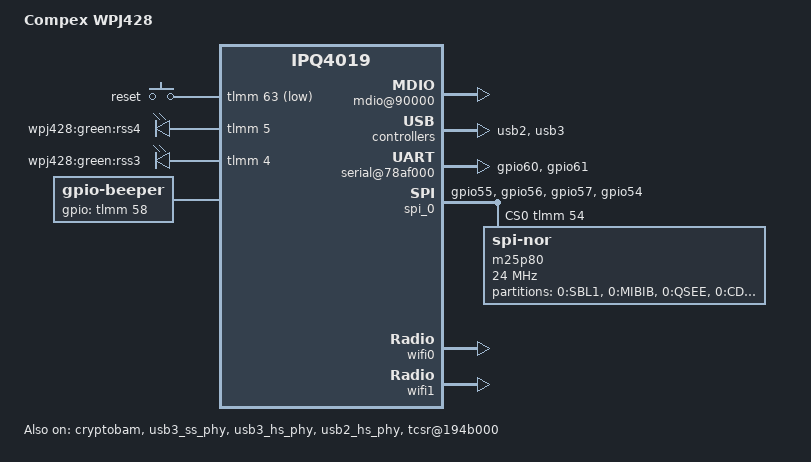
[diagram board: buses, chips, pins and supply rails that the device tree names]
/* Copyright (c) 2015, The Linux Foundation. All rights reserved.
 * Copyright (c) 2017, Christian Mehlis <christian@m3hlis.de>
 * Copyright (c) 2017-2018, Sven Eckelmann <sven.eckelmann@openmesh.com>
 *
 * Permission to use, copy, modify, and/or distribute this software for any
 * purpose with or without fee is hereby granted, provided that the above
 * copyright notice and this permission notice appear in all copies.
 *
 * THE SOFTWARE IS PROVIDED "AS IS" AND THE AUTHOR DISCLAIMS ALL WARRANTIES
 * WITH REGARD TO THIS SOFTWARE INCLUDING ALL IMPLIED WARRANTIES OF
 * MERCHANTABILITY AND FITNESS. IN NO EVENT SHALL THE AUTHOR BE LIABLE FOR
 * ANY SPECIAL, DIRECT, INDIRECT, OR CONSEQUENTIAL DAMAGES OR ANY DAMAGES
 * WHATSOEVER RESULTING FROM LOSS OF USE, DATA OR PROFITS, WHETHER IN AN
 * ACTION OF CONTRACT, NEGLIGENCE OR OTHER TORTIOUS ACTION, ARISING OUT OF
 * OR IN CONNECTION WITH THE USE OR PERFORMANCE OF THIS SOFTWARE.
 *
 */

#include "qcom-ipq4019.dtsi"
#include "qcom-ipq4019-bus.dtsi"
#include <dt-bindings/gpio/gpio.h>
#include <dt-bindings/input/input.h>
#include <dt-bindings/soc/qcom,tcsr.h>

/ {
	model = "Compex WPJ428";
	compatible = "compex,wpj428", "qcom,ipq4019";

	soc {
		mdio@90000 {
			status = "okay";
		};

		ess-psgmii@98000 {
			status = "okay";
		};

		tcsr@194b000 {
			/* select hostmode */
			compatible = "qcom,tcsr";
			reg = <0x194b000 0x100>;
			qcom,usb-hsphy-mode-select = <TCSR_USB_HSPHY_HOST_MODE>;
			status = "okay";
		};

		tcsr@1949000 {
			compatible = "qcom,tcsr";
			reg = <0x1949000 0x100>;
			qcom,wifi_glb_cfg = <TCSR_WIFI_GLB_CFG>;
		};

		ess_tcsr@1953000 {
			compatible = "qcom,tcsr";
			reg = <0x1953000 0x1000>;
			qcom,ess-interface-select = <TCSR_ESS_PSGMII>;
		};

		tcsr@1957000 {
			compatible = "qcom,tcsr";
			reg = <0x1957000 0x100>;
			qcom,wifi_noc_memtype_m0_m2 = <TCSR_WIFI_NOC_MEMTYPE_M0_M2>;
		};

		usb2: usb2@60f8800 {
			status = "okay";
		};

		serial@78af000 {
			pinctrl-0 = <&serial_pins>;
			pinctrl-names = "default";
			status = "okay";
		};

		usb3: usb3@8af8800 {
			status = "okay";
		};

		crypto@8e3a000 {
			status = "okay";
		};

		watchdog@b017000 {
			status = "okay";
		};

		ess-switch@c000000 {
			switch_lan_bmp = <0x10>;
			switch_wan_bmp = <0x20>;

			status = "okay";
		};

		edma@c080000 {
			status = "okay";
		};
	};

	gpio-keys {
		compatible = "gpio-keys";

		reset {
			label = "reset";
			gpios = <&tlmm 63 GPIO_ACTIVE_LOW>;
			linux,code = <KEY_RESTART>;
		};
	};

	aliases {
		led-boot = &status;
		led-failsafe = &status;
		led-upgrade = &status;
	};

	gpio-leds {
		compatible = "gpio-leds";

		status: rss4 {
			label = "wpj428:green:rss4";
			gpios = <&tlmm 5 GPIO_ACTIVE_HIGH>;
			default-state = "off";
		};

		rss3 {
			label = "wpj428:green:rss3";
			gpios = <&tlmm 4 GPIO_ACTIVE_HIGH>;
			default-state = "off";
		};
	};

	beeper: beeper {
		compatible = "gpio-beeper";
		gpios = <&tlmm 58 GPIO_ACTIVE_HIGH>;
	};
};

&tlmm {
	serial_pins: serial_pinmux {
		mux {
			pins = "gpio60", "gpio61";
			function = "blsp_uart0";
			bias-disable;
		};
	};

	spi_0_pins: spi_0_pinmux {
		pin {
			function = "blsp_spi0";
			pins = "gpio55", "gpio56", "gpio57";
			drive-strength = <12>;
			bias-disable;
		};
		pin_cs {
			function = "gpio";
			pins = "gpio54";
			drive-strength = <2>;
			bias-disable;
			output-high;
		};
	};
};

&blsp_dma {
	status = "okay";
};

&spi_0 {
	pinctrl-0 = <&spi_0_pins>;
	pinctrl-names = "default";
	status = "okay";
	cs-gpios = <&tlmm 54 GPIO_ACTIVE_HIGH>;

	m25p80@0 {
		#address-cells = <1>;
		#size-cells = <1>;
		compatible = "jedec,spi-nor";
		reg = <0>;
		spi-max-frequency = <24000000>;

		partitions {
			compatible = "fixed-partitions";
			#address-cells = <1>;
			#size-cells = <1>;

			partition0@0 {
				label = "0:SBL1";
				reg = <0x00000000 0x00040000>;
				read-only;
			};
			partition1@40000 {
				label = "0:MIBIB";
				reg = <0x00040000 0x00020000>;
				read-only;
			};
			partition2@60000 {
				label = "0:QSEE";
				reg = <0x00060000 0x00060000>;
				read-only;
			};
			partition3@c0000 {
				label = "0:CDT";
				reg = <0x000c0000 0x00010000>;
				read-only;
			};
			partition4@d0000 {
				label = "0:DDRPARAMS";
				reg = <0x000d0000 0x00010000>;
				read-only;
			};
			partition5@e0000 {
				label = "0:APPSBLENV"; /* uboot env*/
				reg = <0x000e0000 0x00010000>;
				read-only;
			};
			partition5@f0000 {
				label = "0:APPSBL"; /* uboot */
				reg = <0x000f0000 0x00080000>;
				read-only;
			};
			partition5@170000 {
				label = "0:ART";
				reg = <0x00170000 0x00010000>;
				read-only;
			};
			partition6@180000 {
				label = "firmware";
				reg = <0x00180000 0x01e80000>;
			};
		};
	};
};

&cryptobam {
	status = "okay";
};

&gmac0 {
	qcom,phy_mdio_addr = <4>;
	qcom,poll_required = <1>;
	qcom,forced_speed = <1000>;
	qcom,forced_duplex = <1>;
	vlan_tag = <2 0x20>;
};

&gmac1 {
	qcom,phy_mdio_addr = <3>;
	qcom,poll_required = <1>;
	qcom,forced_speed = <1000>;
	qcom,forced_duplex = <1>;
	vlan_tag = <1 0x10>;
};

&usb3_ss_phy {
	status = "okay";
};

&usb3_hs_phy {
	status = "okay";
};

&usb2_hs_phy {
	status = "okay";
};

&wifi0 {
	status = "okay";
};

&wifi1 {
	status = "okay";
};
